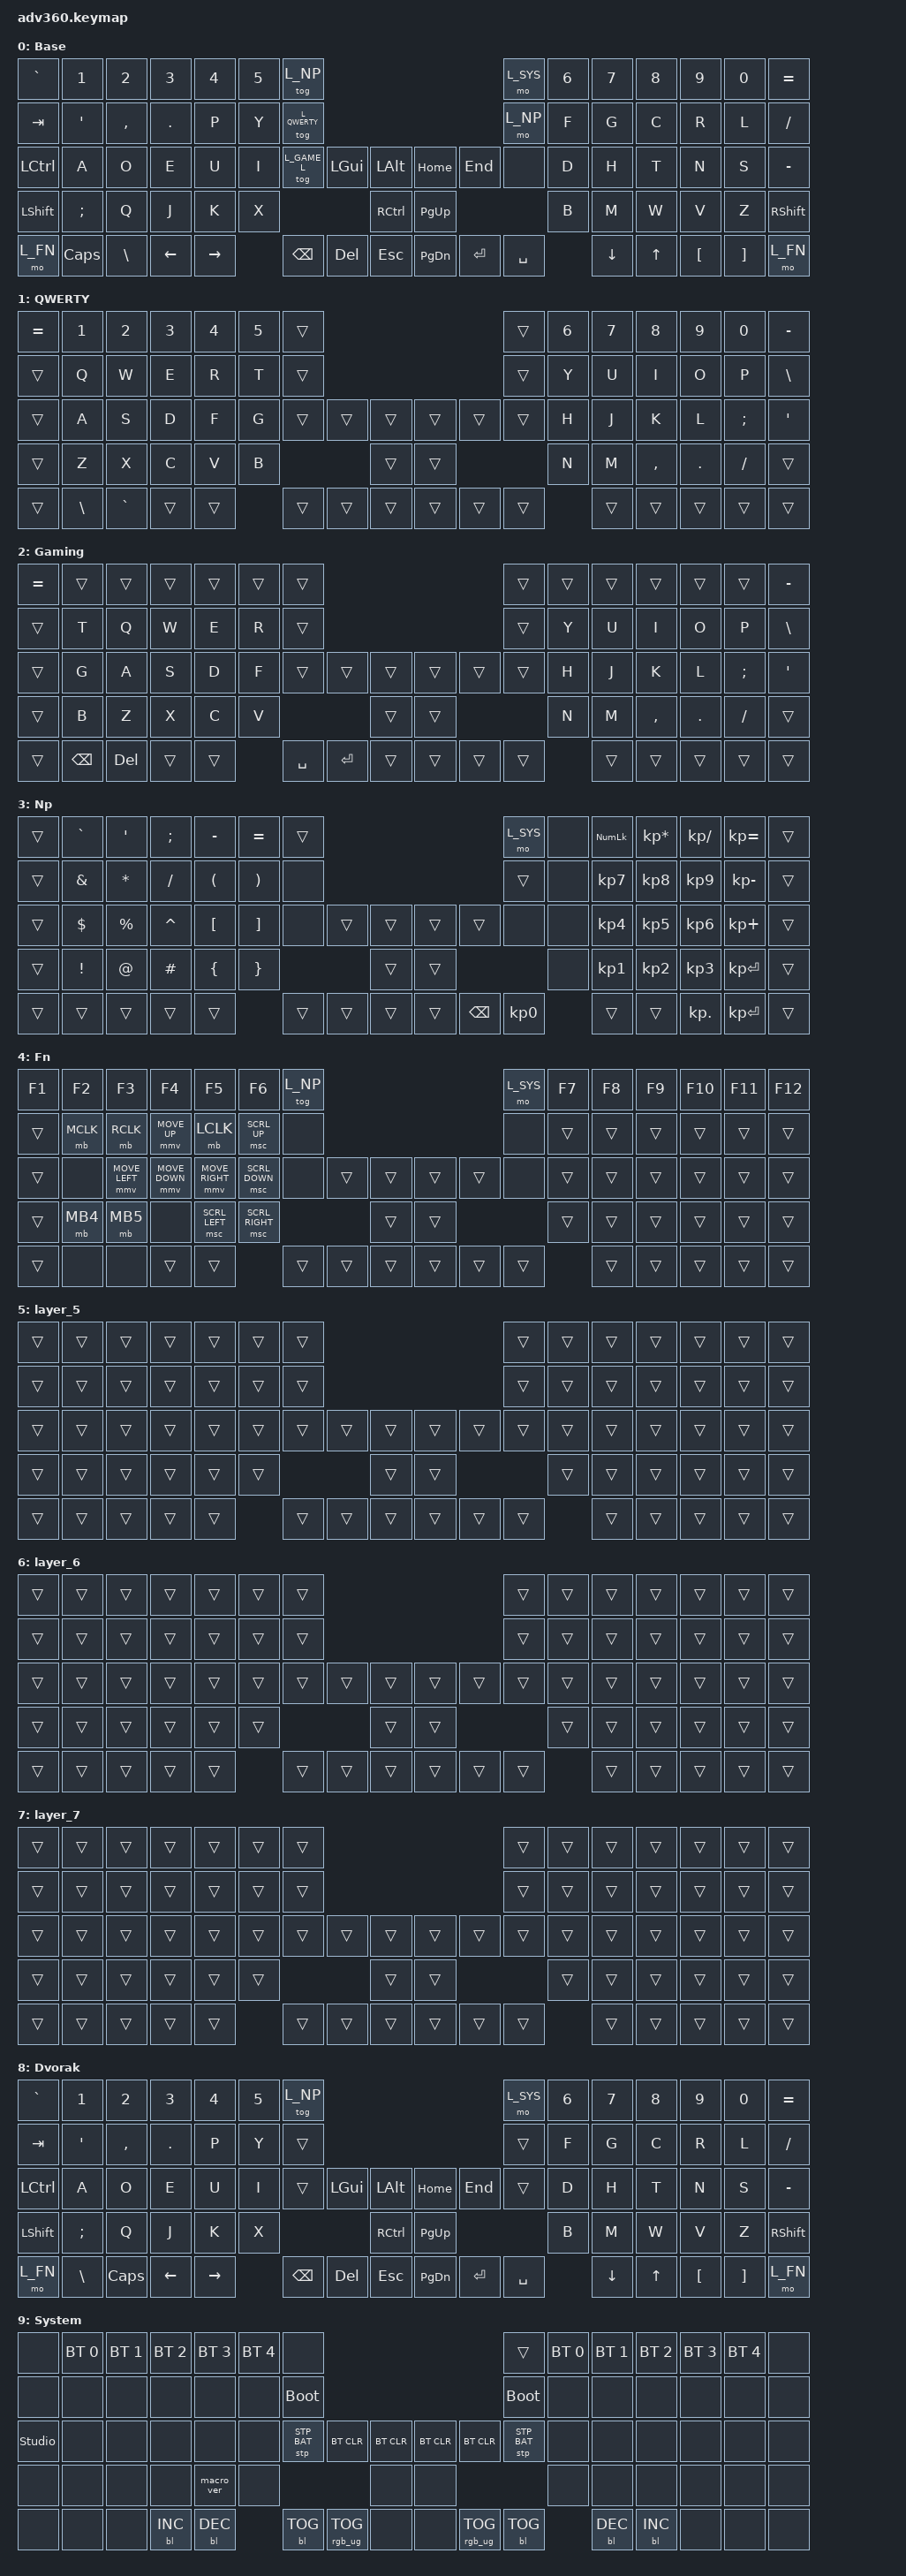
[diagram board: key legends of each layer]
#include <behaviors.dtsi>
#include <dt-bindings/zmk/backlight.h>
#include <dt-bindings/zmk/bt.h>
#include <dt-bindings/zmk/keys.h>
#include <dt-bindings/zmk/mouse.h>
#include <dt-bindings/zmk/pointing.h>
#include <dt-bindings/zmk/rgb.h>
#include <dt-bindings/zmk/stp.h>

#define ___ &trans

#define L_DEFAULT 0
#define L_QWERTY 1
#define L_GAME_L 2
#define L_NP 3
#define L_FN 4
#define L_SYS 9

#define U_MOUSE_MOVE_MAX 600
#define U_MOUSE_SCROLL_MAX 10

#define U_MB_L &mb LCLK
#define U_MB_R &mb RCLK
#define U_MB_M &mb MCLK
#define U_MB_1 &mb MB1
#define U_MB_2 &mb MB2
#define U_MB_3 &mb MB3
#define U_MB_4 &mb MB4
#define U_MB_5 &mb MB5

#define U_BTN1 &mkp MB1
#define U_BTN2 &mkp MB2
#define U_BTN3 &mkp MB3
#define U_BTN4 &mkp MB4
#define U_BTN5 &mkp MB5

#define U_MS_D &mmv MOVE_DOWN
#define U_MS_L &mmv MOVE_LEFT
#define U_MS_R &mmv MOVE_RIGHT
#define U_MS_U &mmv MOVE_UP

#define U_WH_D &msc SCRL_DOWN
#define U_WH_L &msc SCRL_LEFT
#define U_WH_R &msc SCRL_RIGHT
#define U_WH_U &msc SCRL_UP

/ {
    behaviors {
        #include "macros.dtsi"
        #include "version.dtsi"

        hm: homerow_mods {
            compatible = "zmk,behavior-hold-tap";
            label = "HOMEROW_MODS";
            #binding-cells = <2>;
            tapping-term-ms = <200>;
            quick_tap_ms = <175>;
            flavor = "tap-preferred";
            bindings = <&kp>, <&kp>;
        };

        mb: mouse_button {
            compatible = "zmk,behavior-mouse-key-press";
            label = "MouseButton";
            #binding-cells = <1>;
        };

        mkp: mouse_key_press {
            compatible = "zmk,behavior-mouse-key-press";
            label = "MouseButton";
            #binding-cells = <1>;
        };

        htp: hold_tap {
            compatible = "zmk,behavior-hold-tap";
            label = "HoldTap";
            bindings = <&mo>, <&kp>;

            #binding-cells = <2>;
            tapping-term-ms = <125>;
            flavor = "tap-preferred";
            hold-trigger-key-positions = <70 69 66 65>;
        };
    };

    keymap {
        compatible = "zmk,keymap";

        default_layer {
            display-name = "Base";
            bindings = <
&kp GRAVE  &kp N1    &kp N2     &kp N3    &kp N4     &kp N5  &tog L_NP                                                     &mo L_SYS  &kp N6  &kp N7    &kp N8  &kp N9    &kp N0    &kp EQUAL
&kp TAB    &kp APOS  &kp COMMA  &kp DOT   &kp P      &kp Y   &tog L_QWERTY                                                 &mo L_NP   &kp F   &kp G     &kp C   &kp R     &kp L     &kp FSLH
&kp LCTRL  &kp A     &kp O      &kp E     &kp U      &kp I   &tog L_GAME_L  &kp LGUI  &kp LALT       &kp HOME   &kp END    &none      &kp D   &kp H     &kp T   &kp N     &kp S     &kp MINUS
&kp LSHFT  &kp SEMI  &kp Q      &kp J     &kp K      &kp X                            &kp RCTRL      &kp PG_UP                        &kp B   &kp M     &kp W   &kp V     &kp Z     &kp RSHFT
&mo L_FN   &kp CAPS  &kp BSLH   &kp LEFT  &kp RIGHT          &kp BSPC       &kp DEL   &kp ESC        &kp PG_DN  &kp ENTER  &kp SPACE          &kp DOWN  &kp UP  &kp LBKT  &kp RBKT  &mo L_FN
            >;
        };

        Qwerty {
            display-name = "QWERTY";
            bindings = <
&kp EQUAL  &kp N1    &kp N2     &kp N3  &kp N4  &kp N5  ___                                         ___     &kp N6  &kp N7  &kp N8     &kp N9   &kp N0    &kp MINUS
___        &kp Q     &kp W      &kp E   &kp R   &kp T   ___                                         ___     &kp Y   &kp U   &kp I      &kp O    &kp P     &kp BSLH
___        &kp A     &kp S      &kp D   &kp F   &kp G   ___     ___     ___         ___     ___     ___     &kp H   &kp J   &kp K      &kp L    &kp SEMI  &kp APOS
___        &kp Z     &kp X      &kp C   &kp V   &kp B                   ___         ___                     &kp N   &kp M   &kp COMMA  &kp DOT  &kp FSLH  ___
___        &kp BSLH  &kp GRAVE  ___     ___             ___     ___     ___         ___     ___     ___             ___     ___        ___      ___       ___
            >;
        };

        Gaming_Left {
            display-name = "Gaming";
            bindings = <
&kp EQUAL  ___       ___      ___     ___     ___     ___                                               ___     ___     ___     ___        ___      ___        &kp MINUS
___        &kp T     &kp Q    &kp W   &kp E   &kp R   ___                                               ___     &kp Y   &kp U   &kp I      &kp O    &kp P      &kp BSLH
___        &kp G     &kp A    &kp S   &kp D   &kp F   ___        ___        ___         ___     ___     ___     &kp H   &kp J   &kp K      &kp L    &kp SEMI   &kp APOS
___        &kp B     &kp Z    &kp X   &kp C   &kp V                         ___         ___                     &kp N   &kp M   &kp COMMA  &kp DOT  &kp FSLH   ___
___        &kp BSPC  &kp DEL  ___     ___             &kp SPACE  &kp ENTER  ___         ___     ___     ___             ___     ___        ___      ___        ___
            >;
        };

        NumberPad {
            display-name = "Np";
            bindings = <
___     &kp GRAVE   &kp APOS   &kp SEMI   &kp MINUS  &kp EQUAL  ___                                           &mo L_SYS  &none  &kp KP_NUM  &kp KP_MULTIPLY  &kp KP_DIVIDE  &kp KP_EQUAL  ___
___     &kp AMPS    &kp ASTRK  &kp SLASH  &kp LPAR   &kp RPAR   &none                                         ___        &none  &kp KP_N7   &kp KP_N8        &kp KP_N9      &kp KP_MINUS  ___
___     &kp DOLLAR  &kp PRCNT  &kp CARET  &kp LBKT   &kp RBKT   &none   ___     ___         ___     ___       &none      &none  &kp KP_N4   &kp KP_N5        &kp KP_N6      &kp KP_PLUS   ___
___     &kp EXCL    &kp AT     &kp HASH   &kp LBRC   &kp RBRC                   ___         ___                          &none  &kp KP_N1   &kp KP_N2        &kp KP_N3      &kp KP_ENTER  ___
___     ___         ___        ___        ___                   ___     ___     ___         ___     &kp BSPC  &kp KP_N0         ___         ___              &kp KP_DOT     &kp KP_ENTER  ___
            >;
        };

        fn {
            display-name = "Fn";
            bindings = <
&kp F1  &kp F2    &kp F3    &kp F4    &kp F5    &kp F6    &tog L_NP                                      &mo L_SYS   &kp F7  &kp F8  &kp F9  &kp F10  &kp F11  &kp F12
___     U_MB_M    U_MB_R    U_MS_U    U_MB_L    U_WH_U    &none                                          &none       ___     ___     ___     ___      ___      ___
___     &none     U_MS_L    U_MS_D    U_MS_R    U_WH_D    &none      ___     ___         ___     ___     &none       ___     ___     ___     ___      ___      ___
___     U_MB_4    U_MB_5    &none     U_WH_L    U_WH_R                       ___         ___                         ___     ___     ___     ___      ___      ___
___     &none     &none     ___       ___                 ___        ___     ___         ___     ___     ___                 ___     ___     ___      ___      ___
            >;
        };

        layer_5 {
            bindings = <
___     ___     ___     ___     ___     ___     ___                                         ___     ___     ___     ___     ___     ___     ___
___     ___     ___     ___     ___     ___     ___                                         ___     ___     ___     ___     ___     ___     ___
___     ___     ___     ___     ___     ___     ___     ___     ___         ___     ___     ___     ___     ___     ___     ___     ___     ___
___     ___     ___     ___     ___     ___                     ___         ___                     ___     ___     ___     ___     ___     ___
___     ___     ___     ___     ___             ___     ___     ___         ___     ___     ___             ___     ___     ___     ___     ___
            >;
        };

        layer_6 {
            bindings = <
___     ___     ___     ___     ___     ___     ___                                         ___     ___     ___     ___     ___     ___     ___
___     ___     ___     ___     ___     ___     ___                                         ___     ___     ___     ___     ___     ___     ___
___     ___     ___     ___     ___     ___     ___     ___     ___         ___     ___     ___     ___     ___     ___     ___     ___     ___
___     ___     ___     ___     ___     ___                     ___         ___                     ___     ___     ___     ___     ___     ___
___     ___     ___     ___     ___             ___     ___     ___         ___     ___     ___             ___     ___     ___     ___     ___
            >;
        };

        layer_7 {
            bindings = <
___     ___     ___     ___     ___     ___     ___                                         ___     ___     ___     ___     ___     ___     ___
___     ___     ___     ___     ___     ___     ___                                         ___     ___     ___     ___     ___     ___     ___
___     ___     ___     ___     ___     ___     ___     ___     ___         ___     ___     ___     ___     ___     ___     ___     ___     ___
___     ___     ___     ___     ___     ___                     ___         ___                     ___     ___     ___     ___     ___     ___
___     ___     ___     ___     ___             ___     ___     ___         ___     ___     ___             ___     ___     ___     ___     ___
            >;
        };

        layer_8 {
            display-name = "Dvorak";
            bindings = <
&kp GRAVE  &kp N1    &kp N2     &kp N3    &kp N4     &kp N5  &tog L_NP                                                   &mo L_SYS  &kp N6  &kp N7    &kp N8  &kp N9    &kp N0    &kp EQUAL
&kp TAB    &kp APOS  &kp COMMA  &kp DOT   &kp P      &kp Y   ___                                                         ___        &kp F   &kp G     &kp C   &kp R     &kp L     &kp FSLH
&kp LCTRL  &kp A     &kp O      &kp E     &kp U      &kp I   ___          &kp LGUI  &kp LALT       &kp HOME   &kp END    ___        &kp D   &kp H     &kp T   &kp N     &kp S     &kp MINUS
&kp LSHFT  &kp SEMI  &kp Q      &kp J     &kp K      &kp X                          &kp RCTRL      &kp PG_UP                        &kp B   &kp M     &kp W   &kp V     &kp Z     &kp RSHFT
&mo L_FN   &kp BSLH  &kp CAPS   &kp LEFT  &kp RIGHT          &kp BSPC     &kp DEL   &kp ESC        &kp PG_DN  &kp ENTER  &kp SPACE          &kp DOWN  &kp UP  &kp LBKT  &kp RBKT  &mo L_FN
            >;
        };

        sys {
            display-name = "System";
            bindings = <
&none           &bt BT_SEL 0  &bt BT_SEL 1  &bt BT_SEL 2  &bt BT_SEL 3  &bt BT_SEL 4  &none                                                                       ___           &bt BT_SEL 0  &bt BT_SEL 1  &bt BT_SEL 2  &bt BT_SEL 3  &bt BT_SEL 4  &none
&none           &none         &none         &none         &none         &none         &bootloader                                                                 &bootloader   &none         &none         &none         &none         &none         &none
&studio_unlock  &none         &none         &none         &none         &none         &stp STP_BAT  &bt BT_CLR       &bt BT_CLR      &bt BT_CLR  &bt BT_CLR       &stp STP_BAT  &none         &none         &none         &none         &none         &none
&none           &none         &none         &none         &macro_ver    &none                                        &none           &none                                      &none         &none         &none         &none         &none         &none
&none           &none         &none         &bl BL_INC    &bl BL_DEC                  &bl BL_TOG    &rgb_ug RGB_TOG  &none           &none       &rgb_ug RGB_TOG  &bl BL_TOG                  &bl BL_DEC    &bl BL_INC    &none         &none         &none
            >;
        };

    };
};
